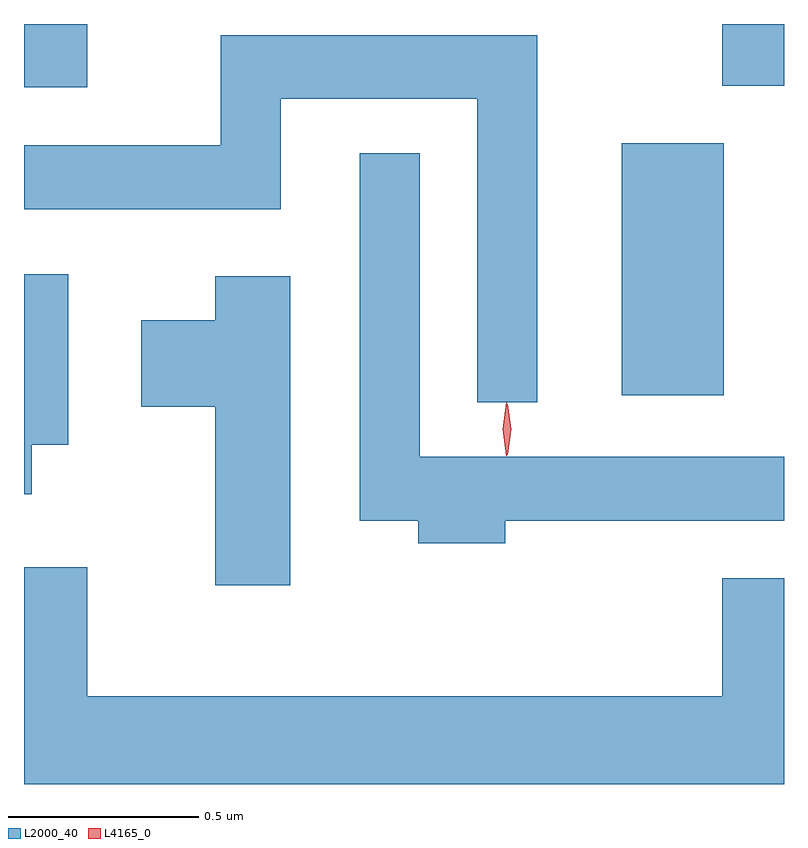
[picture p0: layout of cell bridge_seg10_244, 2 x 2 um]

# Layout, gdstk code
import gdstk
lib = gdstk.Library(unit=1e-6, precision=1e-09)
def R(c, l, rs):  # rectangles x0, y0, x1, y1
    for r in rs: c.add(gdstk.rectangle(r[:2], r[2:], *l))
def P(c, l, *ps):  # polygons
    for p in ps: c.add(gdstk.Polygon(p, *l))
L2000_40 = (2000, 40)
L4165_0 = (4165, 0)

bridge_seg10_244 = lib.new_cell('bridge_seg10_244')
R(bridge_seg10_244, L2000_40, [(1721.526,2090.556,1721.794,2091.219), (1719.953,2091.366,1720.119,2091.533), (1721.791,2091.371,1721.953,2091.533)])
P(bridge_seg10_244, L2000_40, [(1721.304,2091.504),(1720.471,2091.504),(1720.471,2091.214),(1719.953,2091.214),(1719.953,2091.046),(1720.629,2091.046),(1720.629,2091.336),(1721.146,2091.336),(1721.146,2090.538),(1721.304,2090.538)],
  [(1721.219,2090.226),(1721.953,2090.226),(1721.953,2090.394),(1720.994,2090.394),(1720.994,2091.193),(1720.836,2091.193),(1720.836,2090.226),(1720.991,2090.226),(1720.991,2090.166),(1721.219,2090.166)],
  [(1719.974,2090.426),(1720.069,2090.426),(1720.069,2090.874),(1719.953,2090.874),(1719.953,2090.296),(1719.974,2090.296)],
  [(1720.654,2090.869),(1720.456,2090.869),(1720.456,2090.754),(1720.261,2090.754),(1720.261,2090.526),(1720.456,2090.526),(1720.456,2090.056),(1720.654,2090.056)],
  [(1721.953,2090.074),(1721.791,2090.074),(1721.791,2089.764),(1720.119,2089.764),(1720.119,2090.104),(1719.953,2090.104),(1719.953,2089.533),(1721.953,2089.533)])
P(bridge_seg10_244, L4165_0, [(1721.222,2090.397),(1721.213,2090.467),(1721.222,2090.536),(1721.223,2090.536),(1721.223,2090.536),(1721.233,2090.467),(1721.223,2090.397),(1721.223,2090.397)],
  [(1721.225,2090.399),(1721.225,2090.4),(1721.215,2090.466),(1721.225,2090.532),(1721.225,2090.533),(1721.226,2090.532),(1721.235,2090.466),(1721.226,2090.4)])

lib.write_gds('bridge_seg10_244.gds')
